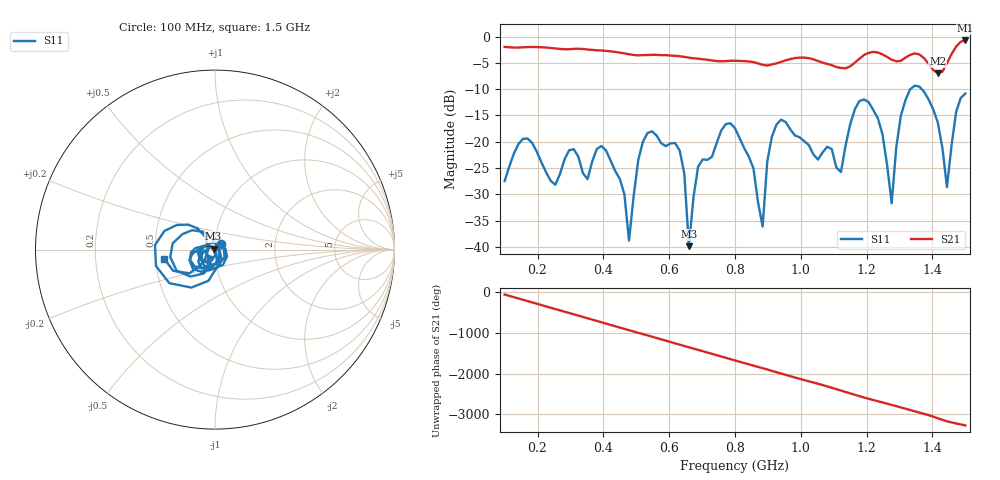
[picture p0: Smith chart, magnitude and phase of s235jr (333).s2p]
! NanoVNA-App
! Date: 2025-09-25 15:06:45
! Start: 100MHz Stop: 1,5GHz Points: 101
! S-Parameter data: F S11 S21 S12 S22
# Hz S RI R 50
!  Frequency  S11_Real  S11_Imag  S21_Real  S21_Imag  S12_Real  S12_Imag  S22_Real  S22_Imag
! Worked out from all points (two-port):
!   101 points, 100 MHz to 1.5 GHz, reference 50 ohm
!   highest |S21| = -0.74 dB at 1.5 GHz (marker M1); lowest = -7.0 dB at 1.416 GHz (marker M2)
!   |S21| within 3 dB of the highest: start of sweep to 632 MHz; 1.187 GHz to 1.258 GHz (70.7 MHz wide, 5.78 % of centre) (the widest 2 of 4)
!   lowest |S11| = -39.8 dB at 660 MHz (marker M3), VSWR 1.02, Z = 49.2 + j0.581 ohm
!   |S11| at or under -10 dB: start of sweep to 1.332 GHz; 1.367 GHz to end of sweep
!   S12 and S22 are empty: the file has one direction only
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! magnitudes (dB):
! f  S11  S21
! 100 MHz  -27.5  -2.0
! 156 MHz  -19.4  -2.1
! 338 MHz  -26.0  -2.4
! 408 MHz  -21.6  -2.7
! 478 MHz  -38.8  -3.4
! 520 MHz  -20.0  -3.5
! 576 MHz  -20.3  -3.5
! 632 MHz  -21.7  -3.7
! 660 MHz  -39.8  -4.0
! 688 MHz  -24.7  -4.2
! 800 MHz  -17.4  -4.6
! 884 MHz  -36.1  -5.4
! 898 MHz  -23.7  -5.5
! 926 MHz  -16.7  -5.1
! 1.038 GHz  -22.4  -4.3
! 1.122 GHz  -25.7  -6.0
! 1.206 GHz  -12.5  -3.1
! 1.276 GHz  -31.7  -4.4
! 1.332 GHz  -10.0  -3.5
! 1.416 GHz  -16.3  -7.0
! 1.444 GHz  -28.6  -5.1
! 1.5 GHz  -10.8  -0.7
